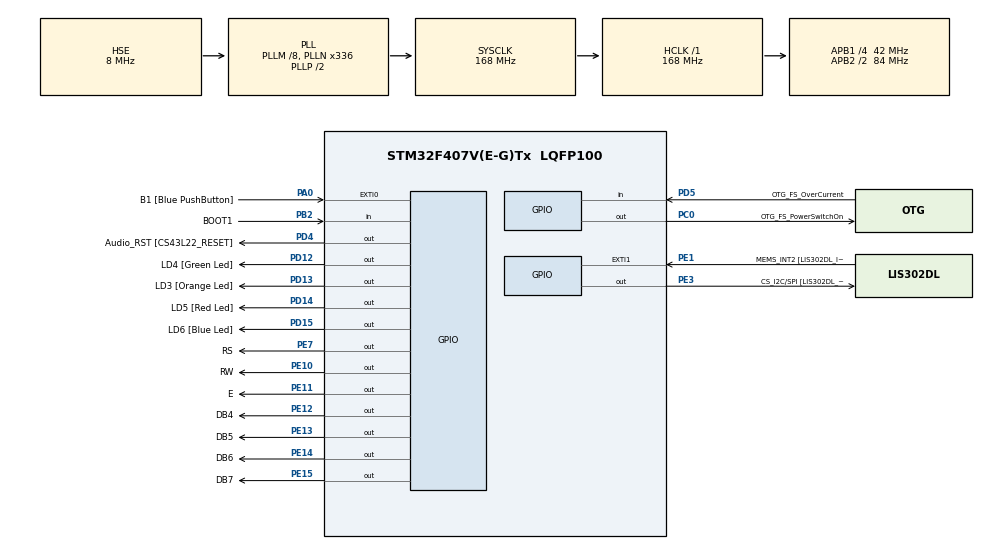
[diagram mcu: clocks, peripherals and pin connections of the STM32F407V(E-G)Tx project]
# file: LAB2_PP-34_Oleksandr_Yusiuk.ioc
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Mcu.Family=STM32F4
Mcu.Name=STM32F407V(E-G)Tx
Mcu.Package=LQFP100
NVIC.EXTI0_IRQn=true\:0\:0\:false\:false\:true\:true\:true\:true
NVIC.PriorityGroup=NVIC_PRIORITYGROUP_0
PA0-WKUP.GPIO_Label=B1 [Blue PushButton]
PA0-WKUP.Signal=GPXTI0
PA10.GPIO_Label=OTG_FS_ID
PA10.GPIO_Mode=GPIO_MODE_AF_PP
PA10.GPIO_PuPd=GPIO_NOPULL
PA10.GPIO_Speed=GPIO_SPEED_FREQ_LOW
PA10.Signal=USB_OTG_FS_ID
PA11.GPIO_Label=OTG_FS_DM
PA11.GPIO_Mode=GPIO_MODE_AF_PP
PA11.GPIO_PuPd=GPIO_NOPULL
PA11.GPIO_Speed=GPIO_SPEED_FREQ_LOW
PA11.Signal=USB_OTG_FS_DM
PA12.GPIO_Label=OTG_FS_DP
PA12.GPIO_Mode=GPIO_MODE_AF_PP
PA12.GPIO_PuPd=GPIO_NOPULL
PA12.GPIO_Speed=GPIO_SPEED_FREQ_LOW
PA12.Signal=USB_OTG_FS_DP
PA13.GPIO_Label=SWDIO
PA13.Mode=Serial_Wire
PA13.Signal=SYS_JTMS-SWDIO
PA14.GPIO_Label=SWCLK
PA14.Mode=Serial_Wire
PA14.Signal=SYS_JTCK-SWCLK
PA4.GPIO_Label=I2S3_WS [CS43L22_LRCK]
PA4.GPIO_Mode=GPIO_MODE_AF_PP
PA4.GPIO_PuPd=GPIO_NOPULL
PA4.GPIO_Speed=GPIO_SPEED_FREQ_LOW
PA4.Signal=I2S3_WS
PA5.GPIO_Label=SPI1_SCK [LIS302DL_SCL/SPC]
PA5.GPIO_Mode=GPIO_MODE_AF_PP
PA5.GPIO_PuPd=GPIO_NOPULL
PA5.GPIO_Speed=GPIO_SPEED_FREQ_LOW
PA5.Signal=SPI1_SCK
PA6.GPIO_Label=SPI1_MISO [LIS302DL_SDO]
PA6.GPIO_Mode=GPIO_MODE_AF_PP
PA6.GPIO_PuPd=GPIO_NOPULL
PA6.GPIO_Speed=GPIO_SPEED_FREQ_LOW
PA6.Signal=SPI1_MISO
PA7.GPIO_Label=SPI1_MOSI [LIS302DL_SDA/SDI/SDO]
PA7.GPIO_Mode=GPIO_MODE_AF_PP
PA7.GPIO_PuPd=GPIO_NOPULL
PA7.GPIO_Speed=GPIO_SPEED_FREQ_LOW
PA7.Signal=SPI1_MOSI
PA9.GPIO_Label=VBUS_FS
PA9.GPIO_Mode=GPIO_MODE_INPUT
PA9.GPIO_PuPd=GPIO_NOPULL
PA9.Signal=USB_OTG_FS_VBUS
PB10.GPIO_Label=CLK_IN [MP45DT02_CLK]
PB10.GPIO_Mode=GPIO_MODE_AF_PP
PB10.GPIO_PuPd=GPIO_NOPULL
PB10.GPIO_Speed=GPIO_SPEED_FREQ_LOW
PB10.Signal=I2S2_CK
PB2.GPIO_Label=BOOT1
PB2.GPIO_Mode=GPIO_MODE_INPUT
PB2.GPIO_PuPd=GPIO_NOPULL
PB2.Signal=GPIO_Input
PB3.GPIO_Label=SWO
PB3.Signal=SYS_JTDO-SWO
PB6.GPIO_Label=Audio_SCL [CS43L22_SCL]
PB6.GPIO_Mode=GPIO_MODE_AF_OD
PB6.GPIO_PuPd=GPIO_NOPULL
PB6.GPIO_Speed=GPIO_SPEED_FREQ_LOW
PB6.Signal=I2C1_SCL
PB9.GPIO_Label=Audio_SDA [CS43L22_SDA]
PB9.GPIO_Mode=GPIO_MODE_AF_OD
PB9.GPIO_PuPd=GPIO_NOPULL
PB9.GPIO_Speed=GPIO_SPEED_FREQ_LOW
PB9.Signal=I2C1_SDA
PC0.GPIO_Label=OTG_FS_PowerSwitchOn
PC0.GPIO_PuPd=GPIO_NOPULL
PC0.GPIO_Speed=GPIO_SPEED_FREQ_LOW
PC0.PinState=GPIO_PIN_SET
PC0.Signal=GPIO_Output
PC10.GPIO_Label=I2S3_SCK [CS43L22_SCLK]
PC10.GPIO_Mode=GPIO_MODE_AF_PP
PC10.GPIO_PuPd=GPIO_NOPULL
PC10.GPIO_Speed=GPIO_SPEED_FREQ_LOW
PC10.Signal=I2S3_CK
PC12.GPIO_Label=I2S3_SD [CS43L22_SDIN]
PC12.GPIO_Mode=GPIO_MODE_AF_PP
PC12.GPIO_PuPd=GPIO_NOPULL
PC12.GPIO_Speed=GPIO_SPEED_FREQ_LOW
PC12.Signal=I2S3_SD
PC14-OSC32_IN.GPIO_Label=PC14-OSC32_IN
PC14-OSC32_IN.Mode=LSE-External-Oscillator
PC14-OSC32_IN.Signal=RCC_OSC32_IN
PC15-OSC32_OUT.GPIO_Label=PC15-OSC32_OUT
PC15-OSC32_OUT.Mode=LSE-External-Oscillator
PC15-OSC32_OUT.Signal=RCC_OSC32_OUT
PC3.GPIO_Label=PDM_OUT [MP45DT02_DOUT]
PC3.GPIO_Mode=GPIO_MODE_AF_PP
PC3.GPIO_PuPd=GPIO_NOPULL
PC3.GPIO_Speed=GPIO_SPEED_FREQ_LOW
PC3.Signal=I2S2_SD
PC7.GPIO_Label=I2S3_MCK [CS43L22_MCLK]
PC7.GPIO_Mode=GPIO_MODE_AF_PP
PC7.GPIO_PuPd=GPIO_NOPULL
PC7.GPIO_Speed=GPIO_SPEED_FREQ_LOW
PC7.Signal=I2S3_MCK
PD12.GPIO_Label=LD4 [Green Led]
PD12.GPIO_PuPd=GPIO_NOPULL
PD12.GPIO_Speed=GPIO_SPEED_FREQ_LOW
PD12.Signal=GPIO_Output
PD13.GPIO_Label=LD3 [Orange Led]
PD13.GPIO_PuPd=GPIO_NOPULL
PD13.GPIO_Speed=GPIO_SPEED_FREQ_LOW
PD13.Signal=GPIO_Output
PD14.GPIO_Label=LD5 [Red Led]
PD14.GPIO_PuPd=GPIO_NOPULL
PD14.GPIO_Speed=GPIO_SPEED_FREQ_LOW
PD14.Signal=GPIO_Output
PD15.GPIO_Label=LD6 [Blue Led]
PD15.GPIO_PuPd=GPIO_NOPULL
PD15.GPIO_Speed=GPIO_SPEED_FREQ_LOW
PD15.Signal=GPIO_Output
PD4.GPIO_Label=Audio_RST [CS43L22_RESET]
PD4.GPIO_PuPd=GPIO_NOPULL
PD4.GPIO_Speed=GPIO_SPEED_FREQ_LOW
PD4.Signal=GPIO_Output
PD5.GPIO_Label=OTG_FS_OverCurrent
PD5.GPIO_Mode=GPIO_MODE_INPUT
PD5.GPIO_PuPd=GPIO_NOPULL
PD5.Signal=GPIO_Input
PE1.GPIO_Label=MEMS_INT2 [LIS302DL_INT2]
PE1.GPIO_ModeDefaultEXTI=GPIO_MODE_EVT_RISING
PE1.GPIO_PuPd=GPIO_NOPULL
PE1.Signal=GPXTI1
PE10.GPIO_Label=RW
PE10.Signal=GPIO_Output
PE11.GPIO_Label=E
PE11.Signal=GPIO_Output
PE12.GPIO_Label=DB4
PE12.Signal=GPIO_Output
PE13.GPIO_Label=DB5
PE13.Signal=GPIO_Output
PE14.GPIO_Label=DB6
PE14.Signal=GPIO_Output
PE15.GPIO_Label=DB7
PE15.Signal=GPIO_Output
PE3.GPIO_Label=CS_I2C/SPI [LIS302DL_CS_I2C/SPI]
PE3.GPIO_PuPd=GPIO_NOPULL
PE3.GPIO_Speed=GPIO_SPEED_FREQ_LOW
PE3.Signal=GPIO_Output
PE7.GPIO_Label=RS
PE7.Signal=GPIO_Output
PH0-OSC_IN.GPIO_Label=PH0-OSC_IN
PH0-OSC_IN.Mode=HSE-External-Oscillator
PH0-OSC_IN.Signal=RCC_OSC_IN
PH1-OSC_OUT.GPIO_Label=PH1-OSC_OUT
PH1-OSC_OUT.Mode=HSE-External-Oscillator
PH1-OSC_OUT.Signal=RCC_OSC_OUT
ProjectManager.HeapSize=0x200
ProjectManager.StackSize=0x400
ProjectManager.TargetToolchain=STM32CubeIDE
RCC.48MHZClocksFreq_Value=48000000
RCC.AHBFreq_Value=168000000
RCC.APB1CLKDivider=RCC_HCLK_DIV4
RCC.APB1Freq_Value=42000000
RCC.APB1TimFreq_Value=84000000
RCC.APB2CLKDivider=RCC_HCLK_DIV2
RCC.APB2Freq_Value=84000000
RCC.APB2TimFreq_Value=168000000
RCC.CortexFreq_Value=168000000
RCC.HCLKFreq_Value=168000000
RCC.HSE_VALUE=8000000
RCC.HSI_VALUE=16000000
RCC.PLLM=8
RCC.PLLN=336
RCC.PLLQ=7
RCC.PLLSourceVirtual=RCC_PLLSOURCE_HSE
RCC.SYSCLKFreq_VALUE=168000000
RCC.SYSCLKSource=RCC_SYSCLKSOURCE_PLLCLK
RCC.VCOOutputFreq_Value=336000000
board=STM32F407G-DISC1

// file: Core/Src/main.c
/* USER CODE BEGIN Header */
/**
  ******************************************************************************
  * @file           : main.c
  * @brief          : Main program body
  ******************************************************************************
  * @attention
  *
  * Copyright (c) 2024 STMicroelectronics.
  * All rights reserved.
  *
  * This software is licensed under terms that can be found in the LICENSE file
  * in the root directory of this software component.
  * If no LICENSE file comes with this software, it is provided AS-IS.
  *
  ******************************************************************************
  */
/* USER CODE END Header */
#include "main.h"

#include "LCD.h"
/* USER CODE BEGIN Includes */
#include "string.h"
/* USER CODE END Includes */

/* USER CODE BEGIN PV */
// for debouncing
uint32_t currentClick = 0;
uint32_t prevClick = 0;
uint8_t buttonPressed = 0;

// interrupt sets this to 1 when occured

// to
int32_t stateCounter = -1;

char authors[4][20] =
{
	  "Oleksandr Yusiuk",
	  "Sofia Nakonechna",
	  "Victoria Kornienko",
	  "Volodymyr Symko"
};
/*
 * @brief changes state of display
 * prints all author names and prints
 * "author" after all names have been sent
 */
void SwitchState(void)
{
	  LCD_Clear();
	  stateCounter += 1;
	  if (stateCounter < 4)
      {
  	    uint8_t size = strlen(authors[stateCounter]);
  		LCD_SendString(authors[stateCounter], size);
      }
      else
      {
    	stateCounter = -1;
      	LCD_SendString("authors", 7);
  	  }
	  prevClick = currentClick;
 }
/* USER CODE END PV */

void SystemClock_Config(void);
static void MX_GPIO_Init(void);

int main(void)
{

  /* MCU Configuration--------------------------------------------------------*/

  /* Reset of all peripherals, Initializes the Flash interface and the Systick. */
  HAL_Init();

  /* Configure the system clock */
  SystemClock_Config();

  /* Initialize all configured peripherals */
  MX_GPIO_Init();
  /* USER CODE BEGIN 2 */

  LCD_Init();
  HAL_Delay(100);
  LCD_Clear();
  HAL_Delay(100);
  LCD_SendString("authors", 7);

  /* USER CODE END 2 */

  /* Infinite loop */
  while (1)
  {

    /* USER CODE BEGIN 3 */
// if we dont want our state control logic to be in interrupt handler

	if ((HAL_GPIO_ReadPin(GPIOA, GPIO_PIN_0) == GPIO_PIN_SET) && (buttonPressed == 0))
	{
		buttonPressed = 1;
		currentClick = HAL_GetTick();
		if (currentClick - prevClick > 10) {
			SwitchState();
		}
//		while (HAL_GPIO_ReadPin(GPIOA, GPIO_PIN_0) == GPIO_PIN_SET);
	}
	else
	{
		buttonPressed = 0;
	}

  } /* WHILE END */
  /* USER CODE END 3 */
}

void SystemClock_Config(void)
{
  RCC_OscInitTypeDef RCC_OscInitStruct = {0};
  RCC_ClkInitTypeDef RCC_ClkInitStruct = {0};

  /** Configure the main internal regulator output voltage
  */
  __HAL_RCC_PWR_CLK_ENABLE();
  __HAL_PWR_VOLTAGESCALING_CONFIG(PWR_REGULATOR_VOLTAGE_SCALE1);

  /** Initializes the RCC Oscillators according to the specified parameters
  * in the RCC_OscInitTypeDef structure.
  */
  RCC_OscInitStruct.OscillatorType = RCC_OSCILLATORTYPE_HSE;
  RCC_OscInitStruct.HSEState = RCC_HSE_ON;
  RCC_OscInitStruct.PLL.PLLState = RCC_PLL_ON;
  RCC_OscInitStruct.PLL.PLLSource = RCC_PLLSOURCE_HSE;
  RCC_OscInitStruct.PLL.PLLM = 8;
  RCC_OscInitStruct.PLL.PLLN = 336;
  RCC_OscInitStruct.PLL.PLLP = RCC_PLLP_DIV2;
  RCC_OscInitStruct.PLL.PLLQ = 7;
  if (HAL_RCC_OscConfig(&RCC_OscInitStruct) != HAL_OK)
  {
    Error_Handler();
  }

  /** Initializes the CPU, AHB and APB buses clocks
  */
  RCC_ClkInitStruct.ClockType = RCC_CLOCKTYPE_HCLK|RCC_CLOCKTYPE_SYSCLK
                              |RCC_CLOCKTYPE_PCLK1|RCC_CLOCKTYPE_PCLK2;
  RCC_ClkInitStruct.SYSCLKSource = RCC_SYSCLKSOURCE_PLLCLK;
  RCC_ClkInitStruct.AHBCLKDivider = RCC_SYSCLK_DIV1;
  RCC_ClkInitStruct.APB1CLKDivider = RCC_HCLK_DIV4;
  RCC_ClkInitStruct.APB2CLKDivider = RCC_HCLK_DIV2;

  if (HAL_RCC_ClockConfig(&RCC_ClkInitStruct, FLASH_LATENCY_5) != HAL_OK)
  {
    Error_Handler();
  }
}

static void MX_GPIO_Init(void)
{
  GPIO_InitTypeDef GPIO_InitStruct = {0};

  /* GPIO Ports Clock Enable */
  __HAL_RCC_GPIOE_CLK_ENABLE();
  __HAL_RCC_GPIOC_CLK_ENABLE();
  __HAL_RCC_GPIOH_CLK_ENABLE();
  __HAL_RCC_GPIOA_CLK_ENABLE();
  __HAL_RCC_GPIOB_CLK_ENABLE();
  __HAL_RCC_GPIOD_CLK_ENABLE();

  /*Configure GPIO pin Output Level */
  HAL_GPIO_WritePin(GPIOE, CS_I2C_SPI_Pin|RS_Pin|RW_Pin|E_Pin
                          |DB4_Pin|DB5_Pin|DB6_Pin|DB7_Pin, GPIO_PIN_RESET);

  /*Configure GPIO pin Output Level */
  HAL_GPIO_WritePin(OTG_FS_PowerSwitchOn_GPIO_Port, OTG_FS_PowerSwitchOn_Pin, GPIO_PIN_SET);

  /*Configure GPIO pin Output Level */
  HAL_GPIO_WritePin(GPIOD, LD4_Pin|LD3_Pin|LD5_Pin|LD6_Pin
                          |Audio_RST_Pin, GPIO_PIN_RESET);

  /*Configure GPIO pins : CS_I2C_SPI_Pin RS_Pin RW_Pin E_Pin
                           DB4_Pin DB5_Pin DB6_Pin DB7_Pin */
  GPIO_InitStruct.Pin = CS_I2C_SPI_Pin|RS_Pin|RW_Pin|E_Pin
                          |DB4_Pin|DB5_Pin|DB6_Pin|DB7_Pin;
  GPIO_InitStruct.Mode = GPIO_MODE_OUTPUT_PP;
  GPIO_InitStruct.Pull = GPIO_NOPULL;
  GPIO_InitStruct.Speed = GPIO_SPEED_FREQ_LOW;
  HAL_GPIO_Init(GPIOE, &GPIO_InitStruct);

  /*Configure GPIO pin : OTG_FS_PowerSwitchOn_Pin */
  GPIO_InitStruct.Pin = OTG_FS_PowerSwitchOn_Pin;
  GPIO_InitStruct.Mode = GPIO_MODE_OUTPUT_PP;
  GPIO_InitStruct.Pull = GPIO_NOPULL;
  GPIO_InitStruct.Speed = GPIO_SPEED_FREQ_LOW;
  HAL_GPIO_Init(OTG_FS_PowerSwitchOn_GPIO_Port, &GPIO_InitStruct);

  /*Configure GPIO pin : PDM_OUT_Pin */
  GPIO_InitStruct.Pin = PDM_OUT_Pin;
  GPIO_InitStruct.Mode = GPIO_MODE_AF_PP;
  GPIO_InitStruct.Pull = GPIO_NOPULL;
  GPIO_InitStruct.Speed = GPIO_SPEED_FREQ_LOW;
  GPIO_InitStruct.Alternate = GPIO_AF5_SPI2;
  HAL_GPIO_Init(PDM_OUT_GPIO_Port, &GPIO_InitStruct);

  /*Configure GPIO pin : B1_Pin */
  GPIO_InitStruct.Pin = B1_Pin;
  GPIO_InitStruct.Mode = GPIO_MODE_IT_RISING;
  GPIO_InitStruct.Pull = GPIO_NOPULL;
  HAL_GPIO_Init(B1_GPIO_Port, &GPIO_InitStruct);

  /*Configure GPIO pin : I2S3_WS_Pin */
  GPIO_InitStruct.Pin = I2S3_WS_Pin;
  GPIO_InitStruct.Mode = GPIO_MODE_AF_PP;
  GPIO_InitStruct.Pull = GPIO_NOPULL;
  GPIO_InitStruct.Speed = GPIO_SPEED_FREQ_LOW;
  GPIO_InitStruct.Alternate = GPIO_AF6_SPI3;
  HAL_GPIO_Init(I2S3_WS_GPIO_Port, &GPIO_InitStruct);

  /*Configure GPIO pins : SPI1_SCK_Pin SPI1_MISO_Pin SPI1_MOSI_Pin */
  GPIO_InitStruct.Pin = SPI1_SCK_Pin|SPI1_MISO_Pin|SPI1_MOSI_Pin;
  GPIO_InitStruct.Mode = GPIO_MODE_AF_PP;
  GPIO_InitStruct.Pull = GPIO_NOPULL;
  GPIO_InitStruct.Speed = GPIO_SPEED_FREQ_LOW;
  GPIO_InitStruct.Alternate = GPIO_AF5_SPI1;
  HAL_GPIO_Init(GPIOA, &GPIO_InitStruct);

  /*Configure GPIO pin : BOOT1_Pin */
  GPIO_InitStruct.Pin = BOOT1_Pin;
  GPIO_InitStruct.Mode = GPIO_MODE_INPUT;
  GPIO_InitStruct.Pull = GPIO_NOPULL;
  HAL_GPIO_Init(BOOT1_GPIO_Port, &GPIO_InitStruct);

  /*Configure GPIO pin : CLK_IN_Pin */
  GPIO_InitStruct.Pin = CLK_IN_Pin;
  GPIO_InitStruct.Mode = GPIO_MODE_AF_PP;
  GPIO_InitStruct.Pull = GPIO_NOPULL;
  GPIO_InitStruct.Speed = GPIO_SPEED_FREQ_LOW;
  GPIO_InitStruct.Alternate = GPIO_AF5_SPI2;
  HAL_GPIO_Init(CLK_IN_GPIO_Port, &GPIO_InitStruct);

  /*Configure GPIO pins : LD4_Pin LD3_Pin LD5_Pin LD6_Pin
                           Audio_RST_Pin */
  GPIO_InitStruct.Pin = LD4_Pin|LD3_Pin|LD5_Pin|LD6_Pin
                          |Audio_RST_Pin;
  GPIO_InitStruct.Mode = GPIO_MODE_OUTPUT_PP;
  GPIO_InitStruct.Pull = GPIO_NOPULL;
  GPIO_InitStruct.Speed = GPIO_SPEED_FREQ_LOW;
  HAL_GPIO_Init(GPIOD, &GPIO_InitStruct);

  /*Configure GPIO pins : I2S3_MCK_Pin I2S3_SCK_Pin I2S3_SD_Pin */
  GPIO_InitStruct.Pin = I2S3_MCK_Pin|I2S3_SCK_Pin|I2S3_SD_Pin;
  GPIO_InitStruct.Mode = GPIO_MODE_AF_PP;
  GPIO_InitStruct.Pull = GPIO_NOPULL;
  GPIO_InitStruct.Speed = GPIO_SPEED_FREQ_LOW;
  GPIO_InitStruct.Alternate = GPIO_AF6_SPI3;
  HAL_GPIO_Init(GPIOC, &GPIO_InitStruct);

  /*Configure GPIO pin : VBUS_FS_Pin */
  GPIO_InitStruct.Pin = VBUS_FS_Pin;
  GPIO_InitStruct.Mode = GPIO_MODE_INPUT;
  GPIO_InitStruct.Pull = GPIO_NOPULL;
  HAL_GPIO_Init(VBUS_FS_GPIO_Port, &GPIO_InitStruct);

  /*Configure GPIO pins : OTG_FS_ID_Pin OTG_FS_DM_Pin OTG_FS_DP_Pin */
  GPIO_InitStruct.Pin = OTG_FS_ID_Pin|OTG_FS_DM_Pin|OTG_FS_DP_Pin;
  GPIO_InitStruct.Mode = GPIO_MODE_AF_PP;
  GPIO_InitStruct.Pull = GPIO_NOPULL;
  GPIO_InitStruct.Speed = GPIO_SPEED_FREQ_LOW;
  GPIO_InitStruct.Alternate = GPIO_AF10_OTG_FS;
  HAL_GPIO_Init(GPIOA, &GPIO_InitStruct);

  /*Configure GPIO pin : OTG_FS_OverCurrent_Pin */
  GPIO_InitStruct.Pin = OTG_FS_OverCurrent_Pin;
  GPIO_InitStruct.Mode = GPIO_MODE_INPUT;
  GPIO_InitStruct.Pull = GPIO_NOPULL;
  HAL_GPIO_Init(OTG_FS_OverCurrent_GPIO_Port, &GPIO_InitStruct);

  /*Configure GPIO pins : Audio_SCL_Pin Audio_SDA_Pin */
  GPIO_InitStruct.Pin = Audio_SCL_Pin|Audio_SDA_Pin;
  GPIO_InitStruct.Mode = GPIO_MODE_AF_OD;
  GPIO_InitStruct.Pull = GPIO_NOPULL;
  GPIO_InitStruct.Speed = GPIO_SPEED_FREQ_LOW;
  GPIO_InitStruct.Alternate = GPIO_AF4_I2C1;
  HAL_GPIO_Init(GPIOB, &GPIO_InitStruct);

  /*Configure GPIO pin : MEMS_INT2_Pin */
  GPIO_InitStruct.Pin = MEMS_INT2_Pin;
  GPIO_InitStruct.Mode = GPIO_MODE_EVT_RISING;
  GPIO_InitStruct.Pull = GPIO_NOPULL;
  HAL_GPIO_Init(MEMS_INT2_GPIO_Port, &GPIO_InitStruct);

  /* EXTI interrupt init*/
  HAL_NVIC_SetPriority(EXTI0_IRQn, 0, 0);
  HAL_NVIC_EnableIRQ(EXTI0_IRQn);

}

/* USER CODE BEGIN 4 */

/*
 * @brief interrupt handler that sets flag to 1
 *
 * @retval None
 *
 */
//void HAL_GPIO_EXTI_Callback(uint16_t GPIO_Pin)
//{
//	currentClick = HAL_GetTick();
//	if (GPIO_Pin == GPIO_PIN_0 && (currentClick - prevClick > 10))
//	{
//		SwitchState();
//	}
//}

/* USER CODE END 4 */

void Error_Handler(void)
{
  __disable_irq();
  while (1)
  {
  }
}
